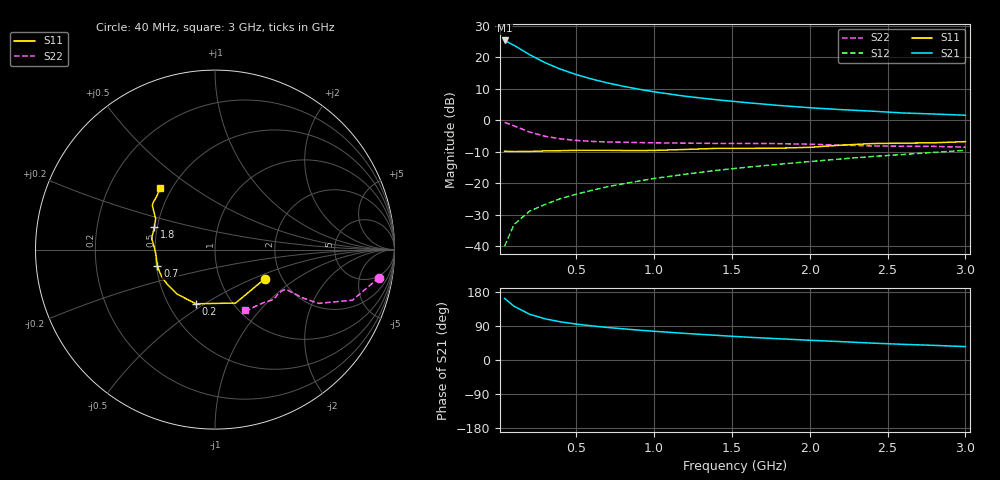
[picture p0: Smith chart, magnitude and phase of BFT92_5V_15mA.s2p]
! Filename:  BFT92D.S2P  Version:  2.0
! Philips part #: BFT92  Date: May 1990
! Bias condition: Vce=-5V, Ic=-15mA
#  MHz  S  MA  R  50
! Freq  S11  S21  S12  S22  !GUM [dB]
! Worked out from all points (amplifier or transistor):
!   21 points, 40 MHz to 3 GHz, reference 50 ohm
!   highest |S21| = 25.4 dB at 40 MHz (marker M1)
!   |S21| within 3 dB of that: start of sweep to 149.3 MHz
!   unconditionally stable (mu >= 1): 535.4 MHz to 2.211 GHz
!   at 300 MHz: K = 0.84, MSG = 22.5 dB, |S12| = -26.7 dB
!   at 1 GHz: K = 1.09, MAG = 12.0 dB, |S12| = -18.5 dB
!   at 3 GHz: K = 0.91, MSG = 5.6 dB, |S12| = -9.5 dB
!   S11 on the Smith chart (normalised r, x): 40 MHz: 1.64, -0.59; 200 MHz: 0.68, -0.46; 700 MHz: 0.51, -0.10; 1.8 GHz: 0.48, +0.14; 3 GHz: 0.43, +0.37
40  0.322 -30.3  18.55 162.4  0.01 80.9  0.927 -9.7
100  0.319 -69.0  15.53 142.0  0.022 72.1  0.816 -20.2
200  0.32 -109.4  11.05 120.9  0.036 67.1  0.651 -27.4
300  0.326 -130.7  8.228 108.7  0.046 66.8  0.557 -28.9
400  0.329 -144.0  6.473 100.7  0.057 67.9  0.507 -29.0
500  0.333 -152.5  5.323 94.8  0.067 69.1  0.479 -29.1
600  0.333 -159.0  4.52 90.0  0.077 70.0  0.462 -29.2
700  0.333 -164.2  3.929 85.9  0.088 70.7  0.453 -29.6
800  0.331 -169.0  3.482 82.3  0.098 71.4  0.448 -30.0
900  0.33 -173.6  3.125 78.9  0.108 71.6  0.443 -30.6
1000  0.332 -177.7  2.834 75.8  0.119 71.7  0.439 -31.4
1200  0.344 175.2  2.411 70.2  0.139 71.8  0.433 -33.3
1400  0.358 170.1  2.121 65.1  0.16 71.6  0.429 -35.9
1600  0.358 165.4  1.902 60.2  0.18 71.3  0.429 -38.3
1800  0.36 159.8  1.722 56.1  0.2 71.1  0.426 -40.8
2000  0.372 152.7  1.584 52.1  0.221 70.4  0.417 -43.4
2200  0.402 148.0  1.478 48.5  0.243 70.1  0.403 -46.7
2400  0.427 144.9  1.397 44.6  0.266 69.1  0.392 -51.6
2600  0.433 142.7  1.307 41.3  0.286 68.3  0.386 -56.4
2800  0.439 138.0  1.258 38.6  0.309 67.8  0.385 -60.1
3000  0.458 131.9  1.202 35.4  0.334 66.6  0.373 -63.7
